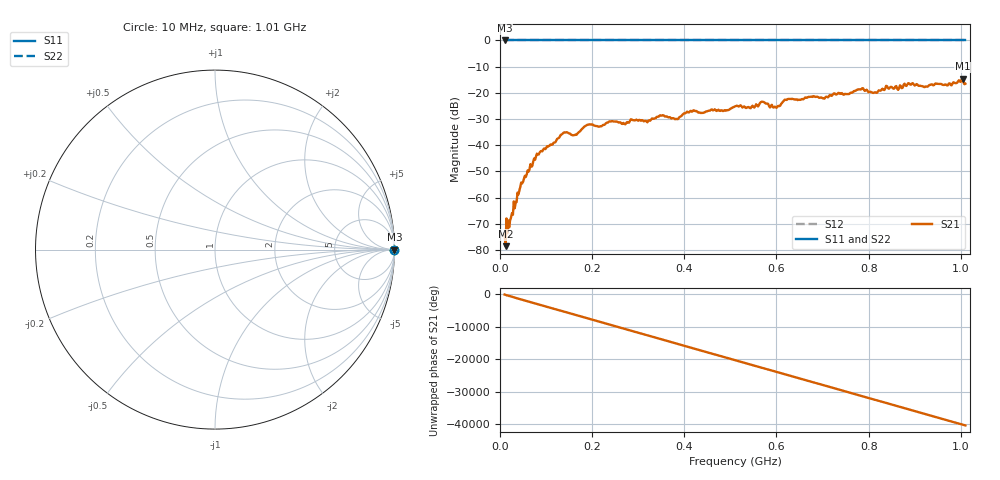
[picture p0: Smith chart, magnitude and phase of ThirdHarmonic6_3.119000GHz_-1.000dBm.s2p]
! 8/17/2025 9:15:10 AM
! C:\ANRITSUVNA\TEMP\TEMP.S2P
! CHANNEL.1
! TR.MEASUREMENT
! RAW.DATA
! RF.CORRECTION.OFF
! AVERAGING.OFF
! IF.BANDWIDTH: 5KHZ
! SWEEPTYPE:  FREQ.SWEEP(Linear)
! Reference Plane Port Info
! PORT:  PORT1  PORT2
! DISTANCE:  0  m  0  m
! TIME:  0  s  0  s
! PHASE.OFFSET:  0  deg.  0  deg.
! LOSS:  0  dB  0  dB
! REF.LOSS:  0  dB  0  dB
! REF.FREQ:  0  Hz  0  Hz
! Power Info
! POWER:  -20  dBm  -20  dBm
! EFF.POWER:  -20  dBm  -20  dBm
! SOURCE.ATTEN:  0  dB  0  dB
! TEST.ATTEN:  0  dB  0  dB
# GHZ S RI R 50.0
! FREQ.GHZ  S11RE  S11IM  S21RE  S21IM  S12RE  S12IM  S22RE  S22IM
!; PortSelection: Port_12
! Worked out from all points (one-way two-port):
!   501 points, 10 MHz to 1.01 GHz, reference 50 ohm
!   highest |S21| = -14.62 dB at 1.004 GHz (marker M1); lowest = -78.5 dB at 12 MHz (marker M2)
!   lowest |S11| = 0.0 dB at 10 MHz (marker M3)
!   |S11| at or under -10 dB: nowhere
!   |S22| runs from 0.0 to 0.0 dB; largest |S21 - S12| = 1.2
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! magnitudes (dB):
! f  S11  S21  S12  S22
! 10 MHz  0.0  -73.7  0.0  0.0
! 12 MHz  0.0  -78.5  0.0  0.0
! 42 MHz  0.0  -57.3  0.0  0.0
! 78 MHz  0.0  -44.4  0.0  0.0
! 136 MHz  0.0  -35.6  0.0  0.0
! 162 MHz  0.0  -36.1  0.0  0.0
! 178 MHz  0.0  -33.7  0.0  0.0
! 192 MHz  0.0  -32.2  0.0  0.0
! 344 MHz  0.0  -29.1  0.0  0.0
! 382 MHz  0.0  -29.9  0.0  0.0
! 416 MHz  0.0  -27.2  0.0  0.0
! 510 MHz  0.0  -25.2  0.0  0.0
! 548 MHz  0.0  -24.9  0.0  0.0
! 570 MHz  0.0  -23.4  0.0  0.0
! 596 MHz  0.0  -25.3  0.0  0.0
! 622 MHz  0.0  -22.7  0.0  0.0
! 678 MHz  0.0  -21.5  0.0  0.0
! 784 MHz  0.0  -18.6  0.0  0.0
! 814 MHz  0.0  -19.8  0.0  0.0
! 844 MHz  0.0  -18.4  0.0  0.0
! 1.004 GHz  0.0  -14.6  0.0  0.0
! 1.01 GHz  0.0  -16.5  0.0  0.0
